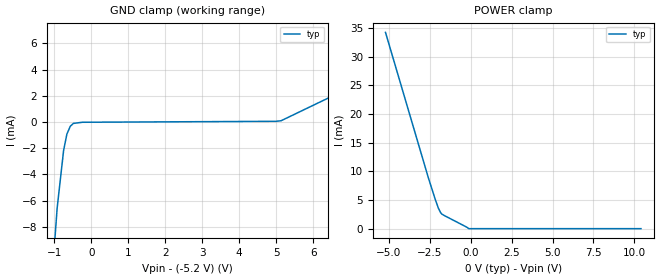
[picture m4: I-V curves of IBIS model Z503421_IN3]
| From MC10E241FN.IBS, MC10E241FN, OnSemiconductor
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| (C) COPYRIGHT 1993-2000
| MENTOR GRAPHICS CORPORATION
| ICX STANDARD LIBRARY, ICX PROJECT MODELING,
| ICX CUSTOM MODELING, ICX VENDOR MODEL
| ALL RIGHTS RESERVED.
| THE FOLLOWING ARE TRADEMARKS OR SERVICE MARKS OF
| MENTOR GRAPHICS CORPORATION:ICX (R), ICX STANDARD
| LIBRARY(R), ICX PROJECT MODELING(R), ICX CUSTOM
| MODELING(R), qualityIBIS(TM), MODELVIEWER(TM),
| AND MODELEDITOR(TM)
| ALL COPIES OF SOFTWARE, INCLUDING BUT NOT LIMITED TO
| ANY MODIFICATIONS, ENHANCEMENTS OR DERIVATIVE WORKS,
| MUST CONTAIN ALL MENTOR GRAPHICS CORPORATION'S
| NOTICES AND LEGENDS, INCLUDING THOSE EMBEDDED IN
| SOFTWARE AND THOSE AFFIXED TO SOFTWARE MEDIUM
| AND CONTAINER, AS RECEIVED FROM MENTOR GRAPHICS
| CORPORATION.
| Model Application Version 1.89 2/18/99.
[Model] Z503421_IN3
Model_type Input_ECL
Vinl = -1.480V
Vinh = -1.130V
C_comp 4.000pF NA NA
| variable typ   min   max
[Voltage Range] -5.200V NA NA
[GND Clamp Reference] -5.200V NA NA
[POWER Clamp Reference] 0.000V NA NA
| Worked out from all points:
|   GND clamp passes 1 mA (typ) near -0.66 V on its own axis
[GND Clamp]
-5.2V     -221.2mA   NA         NA
-1.108V   -13.75mA   NA         NA
-923mV    -6.578mA   NA         NA
-747mV    -2.147mA   NA         NA
-659mV    -916.7uA   NA         NA
-566mV    -321uA     NA         NA
-484mV    -108.2uA   NA         NA
-242mV    -20.39uA   NA         NA
4.993V    51.98uA    NA         NA
5.132V    93.98uA    NA         NA
10.4V     7.248mA    NA         NA
[POWER Clamp]
-5.2V     34.26mA    NA         NA
-2.578V   8.833mA    NA         NA
-2.144V   4.96mA     NA         NA
-1.963V   3.523mA    NA         NA
-1.831V   2.785mA    NA         NA
-1.757V   2.539mA    NA         NA
-1.582V   2.251mA    NA         NA
-224.3mV  240uA      NA         NA
-112.1mV  0A         NA         NA
10.4V     0A         NA         NA
